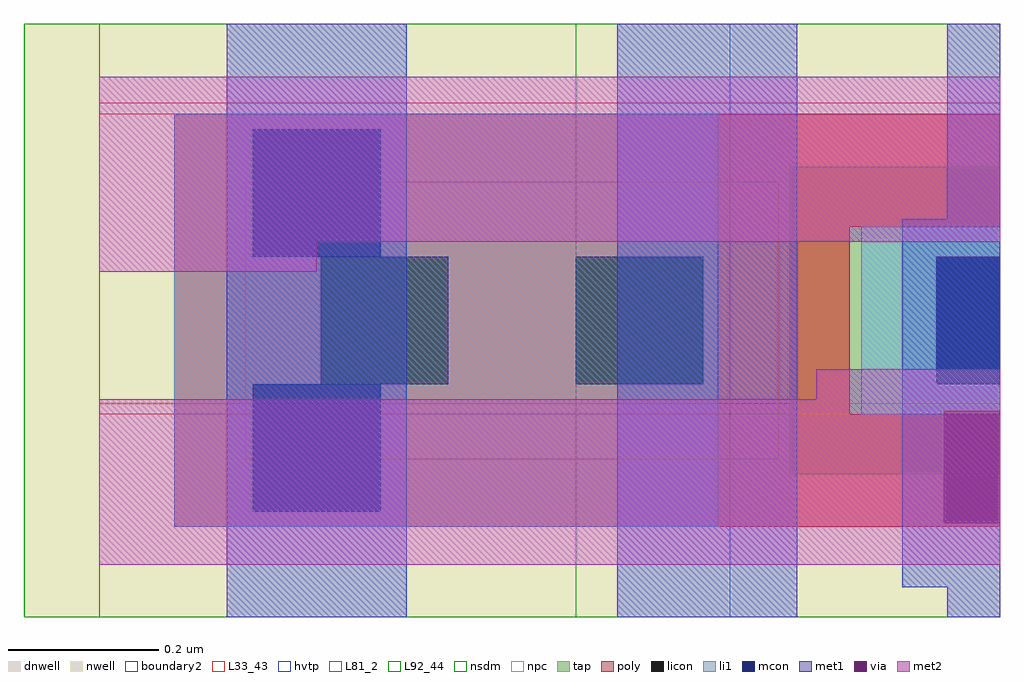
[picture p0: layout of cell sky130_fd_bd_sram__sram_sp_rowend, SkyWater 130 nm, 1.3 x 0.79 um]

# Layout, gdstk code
import gdstk
lib = gdstk.Library(unit=1e-6, precision=1e-09)
def R(c, l, rs):  # rectangles x0, y0, x1, y1
    for r in rs: c.add(gdstk.rectangle(r[:2], r[2:], *l))
def P(c, l, *ps):  # polygons
    for p in ps: c.add(gdstk.Polygon(p, *l))
L33_43 = (33, 43)
dnwell = (64, 18)
nwell = (64, 20)
tap = (65, 44)
poly = (66, 20)
licon = (66, 44)
li1 = (67, 20)
mcon = (67, 44)
met1 = (68, 20)
via = (68, 44)
met2 = (69, 20)
hvtp = (78, 44)
L81_2 = (81, 2)
L92_44 = (92, 44)
nsdm = (93, 44)
npc = (95, 20)
boundary2 = (236, 0)

sky130_fd_bd_sram__sram_ = lib.new_cell('sky130_fd_bd_sram__sram_sp_rowend_ce')

c_sky130_fd_bd_sram__sram_ = lib.new_cell('sky130_fd_bd_sram__sram_sp_rowend_p1m_siz')

c_sky130_fd_bd_sram__sram__ = lib.new_cell('sky130_fd_bd_sram__sram_sp_rowend_met2')

c_sky130_fd_bd_sram__sram___ = lib.new_cell('sky130_fd_bd_sram__sram_sp_rowend')
R(c_sky130_fd_bd_sram__sram___, L33_43, [(-1.2,-0.52,0,-0.505), (-1.2,-0.12,0,-0.105)])
R(c_sky130_fd_bd_sram__sram___, dnwell, [(-1.3,-0.79,0,0)])
R(c_sky130_fd_bd_sram__sram___, nwell, [(-1.3,-0.79,0,0), (-1.2,-0.79,0,0)])
R(c_sky130_fd_bd_sram__sram___, tap, [(-0.28,-0.6,0,-0.19)])
R(c_sky130_fd_bd_sram__sram___, poly, [(-1.1,-0.67,0,-0.52), (-1.1,-0.67,-0.2,-0.12), (-1.1,-0.27,0,-0.12)])
R(c_sky130_fd_bd_sram__sram___, licon, [(-0.905,-0.48,-0.735,-0.31), (-0.565,-0.48,-0.395,-0.31), (-0.085,-0.48,0,-0.31)])
R(c_sky130_fd_bd_sram__sram___, li1, [(-1.1,-0.67,-0.375,-0.12), (-0.185,-0.52,0,-0.27)])
R(c_sky130_fd_bd_sram__sram___, mcon, [(-0.995,-0.65,-0.825,-0.48), (-0.085,-0.48,0,-0.31), (-0.995,-0.31,-0.825,-0.14)])
R(c_sky130_fd_bd_sram__sram___, met1, [(-1.03,-0.79,-0.79,0), (-0.51,-0.79,-0.27,0), (-0.07,-0.79,0,-0.75), (-0.13,-0.75,0,-0.58), (-0.13,-0.58,0,-0.26), (-0.07,-0.26,0,0)])
R(c_sky130_fd_bd_sram__sram___, via, [(-0.075,-0.665,0,-0.515)])
P(c_sky130_fd_bd_sram__sram___, met2, [(-1.2,-0.33),(-1.2,-0.07),(0,-0.07),(0,-0.29),(-0.91,-0.29),(-0.91,-0.33)],
  [(-1.2,-0.72),(-1.2,-0.5),(-0.245,-0.5),(-0.245,-0.46),(0,-0.46),(0,-0.72)])
R(c_sky130_fd_bd_sram__sram___, hvtp, [(-0.36,-0.79,0,0)])
R(c_sky130_fd_bd_sram__sram___, L81_2, [(-1.2,-0.79,0,0)])
R(c_sky130_fd_bd_sram__sram___, L92_44, [(-0.565,-0.79,0,0)])
R(c_sky130_fd_bd_sram__sram___, nsdm, [(-1.3,-0.79,0,0)])
R(c_sky130_fd_bd_sram__sram___, npc, [(-1.005,-0.58,-0.295,-0.21)])
R(c_sky130_fd_bd_sram__sram___, boundary2, [(-1.2,-0.79,0,0)])
c_sky130_fd_bd_sram__sram___.add(gdstk.Reference(sky130_fd_bd_sram__sram_, (0,0)))
c_sky130_fd_bd_sram__sram___.add(gdstk.Reference(c_sky130_fd_bd_sram__sram_, (0,0)))
c_sky130_fd_bd_sram__sram___.add(gdstk.Reference(c_sky130_fd_bd_sram__sram__, (0,0)))

lib.write_gds('sky130_fd_bd_sram__sram_sp_rowend.gds')
